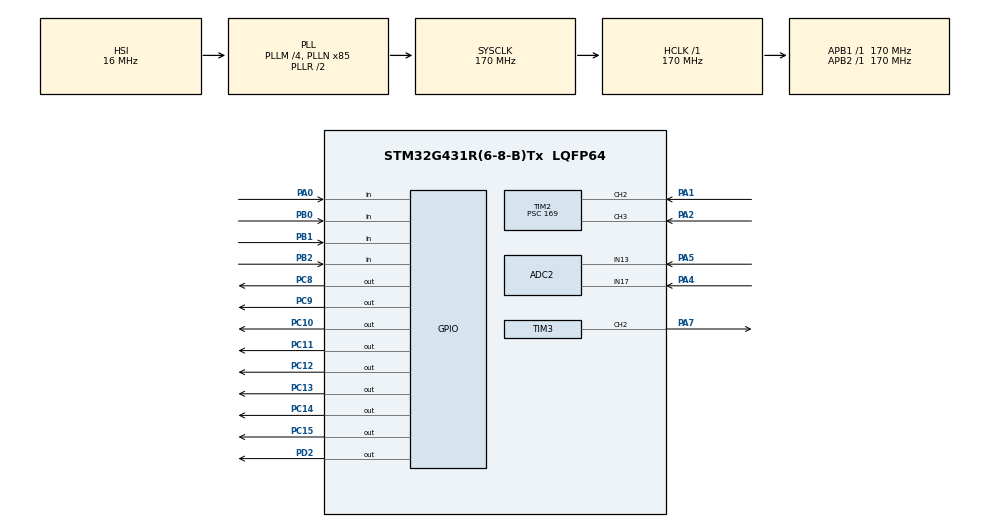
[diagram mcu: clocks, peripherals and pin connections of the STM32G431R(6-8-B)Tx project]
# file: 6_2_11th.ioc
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ADC2.Channel-0\#ChannelRegularConversion=ADC_CHANNEL_13
ADC2.Channel-1\#ChannelRegularConversion=ADC_CHANNEL_17
ADC2.DiscontinuousConvMode=ENABLE
ADC2.EOCSelection=ADC_EOC_SINGLE_CONV
ADC2.NbrOfConversion=2
ADC2.NbrOfConversionFlag=1
ADC2.OffsetNumber-0\#ChannelRegularConversion=ADC_OFFSET_NONE
ADC2.OffsetNumber-1\#ChannelRegularConversion=ADC_OFFSET_NONE
ADC2.Rank-0\#ChannelRegularConversion=1
ADC2.Rank-1\#ChannelRegularConversion=2
ADC2.SamplingTime-0\#ChannelRegularConversion=ADC_SAMPLETIME_47CYCLES_5
ADC2.SamplingTime-1\#ChannelRegularConversion=ADC_SAMPLETIME_47CYCLES_5
Mcu.Family=STM32G4
Mcu.Name=STM32G431R(6-8-B)Tx
Mcu.Package=LQFP64
NVIC.PriorityGroup=NVIC_PRIORITYGROUP_4
NVIC.TIM1_UP_TIM16_IRQn=true\:0\:0\:false\:false\:true\:true\:true\:true
NVIC.TIM2_IRQn=true\:0\:0\:false\:false\:true\:true\:true\:true
PA0.Signal=GPIO_Input
PA1.Signal=S_TIM2_CH2
PA2.Signal=S_TIM2_CH3
PA4.Mode=IN17-Single-Ended
PA4.Signal=ADC2_IN17
PA5.Mode=IN13-Single-Ended
PA5.Signal=ADC2_IN13
PA7.Signal=S_TIM3_CH2
PB0.Signal=GPIO_Input
PB1.Signal=GPIO_Input
PB2.Signal=GPIO_Input
PC10.Signal=GPIO_Output
PC11.Signal=GPIO_Output
PC12.Signal=GPIO_Output
PC13.Signal=GPIO_Output
PC14-OSC32_IN.Signal=GPIO_Output
PC15-OSC32_OUT.Signal=GPIO_Output
PC8.Signal=GPIO_Output
PC9.Signal=GPIO_Output
PD2.Signal=GPIO_Output
PF0-OSC_IN.Mode=HSE-External-Oscillator
PF0-OSC_IN.Signal=RCC_OSC_IN
PF1-OSC_OUT.Mode=HSE-External-Oscillator
PF1-OSC_OUT.Signal=RCC_OSC_OUT
ProjectManager.HeapSize=0x200
ProjectManager.StackSize=0x400
ProjectManager.TargetToolchain=MDK-ARM V5.32
RCC.ADC12Freq_Value=170000000
RCC.AHBFreq_Value=170000000
RCC.APB1Freq_Value=170000000
RCC.APB1TimFreq_Value=170000000
RCC.APB2Freq_Value=170000000
RCC.APB2TimFreq_Value=170000000
RCC.CortexFreq_Value=170000000
RCC.EXTERNAL_CLOCK_VALUE=12288000
RCC.HCLKFreq_Value=170000000
RCC.HSE_VALUE=24000000
RCC.HSI48_VALUE=48000000
RCC.HSI_VALUE=16000000
RCC.LSE_VALUE=32768
RCC.PLLM=RCC_PLLM_DIV4
RCC.PLLN=85
RCC.SYSCLKFreq_VALUE=170000000
RCC.SYSCLKSource=RCC_SYSCLKSOURCE_PLLCLK
RCC.USBFreq_Value=170000000
RCC.VCOOutputFreq_Value=340000000
SH.S_TIM2_CH2.0=TIM2_CH2,Input_Capture2_from_TI2
SH.S_TIM2_CH3.0=TIM2_CH3,Input_Capture3_from_TI3
SH.S_TIM3_CH2.0=TIM3_CH2,PWM Generation2 CH2
TIM1.PeriodNoDither=999
TIM1.Prescaler=169
TIM2.Channel-Input_Capture2_from_TI2=TIM_CHANNEL_2
TIM2.Channel-Input_Capture3_from_TI3=TIM_CHANNEL_3
TIM2.PeriodNoDither=65535
TIM2.Prescaler=169
TIM3.Channel-PWM\ Generation2\ CH2=TIM_CHANNEL_2
TIM3.PeriodNoDither=9
TIM3.Prescaler=169
VP_SYS_VS_DBSignals.Mode=DisableDeadBatterySignals
VP_TIM1_VS_ClockSourceINT.Mode=Internal
board=custom

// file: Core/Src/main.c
/* USER CODE BEGIN Header */
/**
  ******************************************************************************
  * @file           : main.c
  * @brief          : Main program body
  ******************************************************************************
  * @attention
  *
  * Copyright (c) 2023 STMicroelectronics.
  * All rights reserved.
  *
  * This software is licensed under terms that can be found in the LICENSE file
  * in the root directory of this software component.
  * If no LICENSE file comes with this software, it is provided AS-IS.
  *
  ******************************************************************************
  */
/* USER CODE END Header */
#include "main.h"
#include "adc.h"
#include "tim.h"
#include "gpio.h"

/* USER CODE BEGIN Includes */
#include "stdio.h"
#include "lcd.h"
/* USER CODE END Includes */

/* USER CODE BEGIN PTD */
char
		Key_state=0,
		line[10][21],
		Flag_interface=0,
		Led_voltage=1,
		Led_frequ=2,
		Flag_follow,
		Led_voltagebuffer=0,
		Led_frequbuffer=1;
int
		Frequ_pa1,
		Frequ_pa2,
		Key_presst[4],
		adct=0;
float
		Voltage_pa4,
		Voltage_pa5;

/* USER CODE END PTD */

void SystemClock_Config(void);
/* USER CODE BEGIN PFP */

char Key_scan(void)
{
	if(HAL_GPIO_ReadPin(GPIOB,GPIO_PIN_0)==0)Key_presst[0]++;
	else if(HAL_GPIO_ReadPin(GPIOB,GPIO_PIN_0)==1 && Key_presst[0]>=5){Key_presst[0]=0;return 1;}
	else if(HAL_GPIO_ReadPin(GPIOB,GPIO_PIN_1)==0)Key_presst[1]++;
	else if(HAL_GPIO_ReadPin(GPIOB,GPIO_PIN_1)==1 && Key_presst[1]>=5){Key_presst[1]=0;return 2;}
	else if(HAL_GPIO_ReadPin(GPIOB,GPIO_PIN_2)==0)Key_presst[2]++;
	else if(HAL_GPIO_ReadPin(GPIOB,GPIO_PIN_2)==1 && Key_presst[2]>=5){Key_presst[2]=0;return 3;}
	else if(HAL_GPIO_ReadPin(GPIOA,GPIO_PIN_0)==0)Key_presst[3]++;
	else if(HAL_GPIO_ReadPin(GPIOA,GPIO_PIN_0)==1 && Key_presst[3]>=5){Key_presst[3]=0;return 4;}
	else{Key_presst[0]=0,Key_presst[1]=0,Key_presst[2]=0,Key_presst[3]=0;}
	return 0;
}

void Lcd_dis(void)
{
	for(char i=0;i<10;i++)
	LCD_DisplayStringLine(i*24,(uint8_t *)line[i]);
}

void Data_interface(void)
{
	sprintf(line[0],"                    ");
	sprintf(line[1],"    DATA            ");
	sprintf(line[2],"                    ");
	sprintf(line[3],"    V1:%.1fV         ",Voltage_pa4);
	sprintf(line[4],"    V2:%.1fV         ",Voltage_pa5);

	sprintf(line[5],"    F1:%dHz          ",Frequ_pa1);
	sprintf(line[6],"    F2:%dHz          ",Frequ_pa2);
	sprintf(line[7],"     %d              ",adct);
	sprintf(line[8],"                    ");
	sprintf(line[9],"                    ");
}

void Para_interface(void)
{
	sprintf(line[0],"                    ");
	sprintf(line[1],"    PARA            ");
	sprintf(line[2],"                    ");
	sprintf(line[3],"    VD:LD%d          ",Led_voltagebuffer);
	sprintf(line[4],"    FD:LD%d          ",Led_frequbuffer);

	sprintf(line[5],"                    ");
	sprintf(line[6],"                    ");
	sprintf(line[7],"                    ");
	sprintf(line[8],"                    ");
	sprintf(line[9],"                    ");
}

void Led_control(char num,char state)
{
	HAL_GPIO_WritePin(GPIOC,0x80<<num,state?GPIO_PIN_SET:GPIO_PIN_RESET);
}

void Led_proc(void)
{
	Led_control(Led_voltage,Voltage_pa4>Voltage_pa5);
	Led_control(Led_frequ,Frequ_pa1>Frequ_pa2);
	for(char i=1;i<9;i++)
	{
		if(i!=Led_voltage && i!=Led_frequ)
		Led_control(i,1);
	}
	HAL_GPIO_WritePin(GPIOD,GPIO_PIN_2,GPIO_PIN_SET);
	HAL_GPIO_WritePin(GPIOD,GPIO_PIN_2,GPIO_PIN_RESET);
}

float Get_voltage(void)
{
	float value;
	value=HAL_ADC_GetValue(&hadc2);
	HAL_ADC_Start_IT(&hadc2);
	return value/4096.0f*3.3f;
}

void HAL_TIM_IC_CaptureCallback(TIM_HandleTypeDef *htim)
{
    if (htim == &htim2)
    {
        if (htim->Channel == HAL_TIM_ACTIVE_CHANNEL_2)
        {
            static uint32_t prev_capture_pa1 = 0;
            uint32_t curr_capture_pa1 = HAL_TIM_ReadCapturedValue(&htim2, TIM_CHANNEL_2);
            uint32_t pulse_width_pa1 = curr_capture_pa1 - prev_capture_pa1;
            prev_capture_pa1 = curr_capture_pa1;
						Frequ_pa1 = 1000000/pulse_width_pa1;
        }
        else if (htim->Channel == HAL_TIM_ACTIVE_CHANNEL_3)
        {
            static uint32_t prev_capture_pa2 = 0;
            uint32_t curr_capture_pa2 = HAL_TIM_ReadCapturedValue(&htim2, TIM_CHANNEL_3);
            uint32_t pulse_width_pa2 = curr_capture_pa2 - prev_capture_pa2;
            prev_capture_pa2 = curr_capture_pa2;
						Frequ_pa2 = 1000000/pulse_width_pa2;
        }
    }
}

/* USER CODE END PFP */

/* USER CODE BEGIN 0 */

void HAL_TIM_PeriodElapsedCallback(TIM_HandleTypeDef *htim)
{
	if(htim==&htim1)
	{
		Key_state=Key_scan();

		if(Key_state==1 && Flag_interface)
		{
			Flag_interface=!Flag_interface;
			Led_voltage=Led_voltagebuffer;
			Led_frequ=Led_frequbuffer;
		}
		else if(Key_state==1)Flag_interface=!Flag_interface;
		else if(Key_state==2 && Flag_interface)
		{
			Led_voltagebuffer=(++Led_voltagebuffer==Led_frequbuffer)?((++Led_voltagebuffer>8)?
			((Led_frequbuffer==1)?2:1):Led_voltagebuffer):((Led_voltagebuffer>8)?((Led_frequbuffer==1)?2:1):Led_voltagebuffer);
		}
		else if(Key_state==3 && Flag_interface)
		{
			Led_frequbuffer=(++Led_frequbuffer==Led_voltagebuffer)?((++Led_frequbuffer>8)?
			((Led_voltagebuffer==1)?2:1):Led_frequbuffer):((Led_frequbuffer>8)?((Led_voltagebuffer==1)?2:1):Led_frequbuffer);
		}
		else if(Key_state==4)
		{
			Flag_follow=!Flag_follow;
		}

		if(++adct==5)Voltage_pa4=Get_voltage();
		if(adct==10)Voltage_pa5=Get_voltage(),adct=0;

		if(Flag_follow)htim3.Instance->PSC=170000000/Frequ_pa1/10;
		else htim3.Instance->PSC=170000000/Frequ_pa2/10;
	}
}

/* USER CODE END 0 */

int main(void)
{

  /* MCU Configuration--------------------------------------------------------*/

  /* Reset of all peripherals, Initializes the Flash interface and the Systick. */
  HAL_Init();

  /* Configure the system clock */
  SystemClock_Config();

  /* Initialize all configured peripherals */
  MX_GPIO_Init();
  MX_ADC2_Init();
  MX_TIM2_Init();
  MX_TIM3_Init();
  MX_TIM1_Init();
  /* USER CODE BEGIN 2 */
	LCD_Init();
	LCD_SetBackColor(Black);
	LCD_SetTextColor(White);
	HAL_TIM_PWM_Start(&htim3,TIM_CHANNEL_2);
	__HAL_TIM_SetCompare(&htim3,TIM_CHANNEL_2,5);
	HAL_TIM_IC_Start_IT(&htim2,TIM_CHANNEL_2);
	HAL_TIM_IC_Start_IT(&htim2,TIM_CHANNEL_3);
	HAL_TIM_Base_Start_IT(&htim1);
	HAL_GPIO_WritePin(GPIOD,GPIO_PIN_2,GPIO_PIN_RESET);
	for(char i=1;i<9;i++)
	Led_control(i,1);
	HAL_GPIO_WritePin(GPIOD,GPIO_PIN_2,GPIO_PIN_SET);
  /* USER CODE END 2 */

  /* Infinite loop */
  while (1)
  {

    /* USER CODE BEGIN 3 */

		if(!Flag_interface)Data_interface();
		else Para_interface();
		Lcd_dis();
		Led_proc();
  }
  /* USER CODE END 3 */
}

void SystemClock_Config(void)
{
  RCC_OscInitTypeDef RCC_OscInitStruct = {0};
  RCC_ClkInitTypeDef RCC_ClkInitStruct = {0};

  /** Configure the main internal regulator output voltage
  */
  HAL_PWREx_ControlVoltageScaling(PWR_REGULATOR_VOLTAGE_SCALE1_BOOST);

  /** Initializes the RCC Oscillators according to the specified parameters
  * in the RCC_OscInitTypeDef structure.
  */
  RCC_OscInitStruct.OscillatorType = RCC_OSCILLATORTYPE_HSI;
  RCC_OscInitStruct.HSIState = RCC_HSI_ON;
  RCC_OscInitStruct.HSICalibrationValue = RCC_HSICALIBRATION_DEFAULT;
  RCC_OscInitStruct.PLL.PLLState = RCC_PLL_ON;
  RCC_OscInitStruct.PLL.PLLSource = RCC_PLLSOURCE_HSI;
  RCC_OscInitStruct.PLL.PLLM = RCC_PLLM_DIV4;
  RCC_OscInitStruct.PLL.PLLN = 85;
  RCC_OscInitStruct.PLL.PLLP = RCC_PLLP_DIV2;
  RCC_OscInitStruct.PLL.PLLQ = RCC_PLLQ_DIV2;
  RCC_OscInitStruct.PLL.PLLR = RCC_PLLR_DIV2;
  if (HAL_RCC_OscConfig(&RCC_OscInitStruct) != HAL_OK)
  {
    Error_Handler();
  }

  /** Initializes the CPU, AHB and APB buses clocks
  */
  RCC_ClkInitStruct.ClockType = RCC_CLOCKTYPE_HCLK|RCC_CLOCKTYPE_SYSCLK
                              |RCC_CLOCKTYPE_PCLK1|RCC_CLOCKTYPE_PCLK2;
  RCC_ClkInitStruct.SYSCLKSource = RCC_SYSCLKSOURCE_PLLCLK;
  RCC_ClkInitStruct.AHBCLKDivider = RCC_SYSCLK_DIV1;
  RCC_ClkInitStruct.APB1CLKDivider = RCC_HCLK_DIV1;
  RCC_ClkInitStruct.APB2CLKDivider = RCC_HCLK_DIV1;

  if (HAL_RCC_ClockConfig(&RCC_ClkInitStruct, FLASH_LATENCY_4) != HAL_OK)
  {
    Error_Handler();
  }
}

void Error_Handler(void)
{
  __disable_irq();
  while (1)
  {
  }
}
